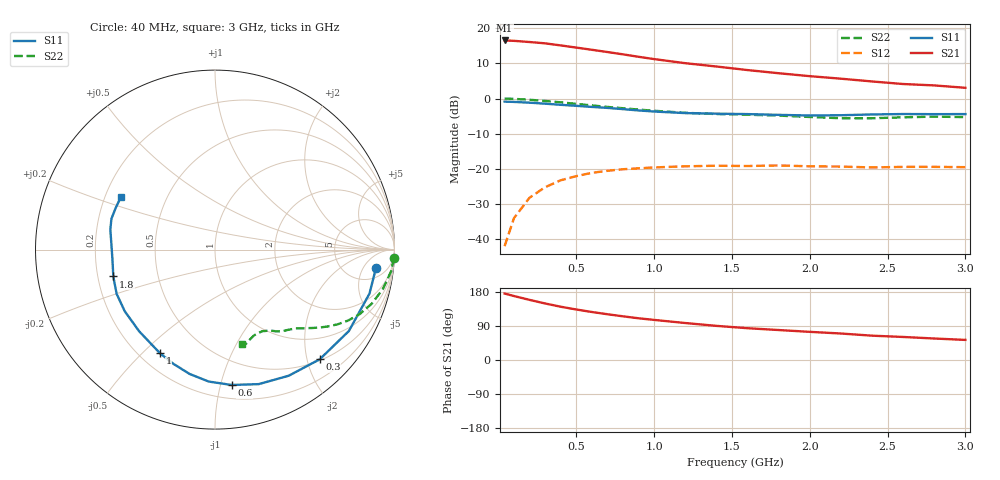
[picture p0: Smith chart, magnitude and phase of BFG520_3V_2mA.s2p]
! Filename:  BFG520A.S2P  Version:  2.1
! Philips part #: BFG520  Date: Feb 1992
! Bias condition: Vce=3V, Ic=2mA
! IN LINE PINNING: same data as with cross emitter pinning.
#  MHz  S  MA  R  50
! Freq  S11  S21  S12  S22  !GUM [dB]
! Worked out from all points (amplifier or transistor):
!   21 points, 40 MHz to 3 GHz, reference 50 ohm
!   highest |S21| = 16.5 dB at 40 MHz (marker M1)
!   |S21| within 3 dB of that: start of sweep to 655.1 MHz
!   unconditionally stable (mu >= 1): 2.252 GHz to end of sweep
!   at 300 MHz: K = 0.09, MSG = 20.4 dB, |S12| = -25.2 dB
!   at 1 GHz: K = 0.38, MSG = 15.4 dB, |S12| = -19.6 dB
!   at 3 GHz: K = 1.25, MAG = 8.3 dB, |S12| = -19.5 dB
!   S11 on the Smith chart (normalised r, x): 40 MHz: 9, -10; 300 MHz: 0.52, -2.24; 600 MHz: 0.30, -1.08; 1 GHz: 0.28, -0.57; 1.8 GHz: 0.27, -0.12; 3 GHz: 0.27, +0.25
40  0.903 -6.4  6.678 175.4  0.008 85.5  0.997 -2.7
100  0.895 -15.9  6.594 168.8  0.02 81.6  0.989 -7.0
200  0.873 -31.3  6.344 158.7  0.039 72.5  0.96 -13.4
300  0.845 -46.3  6.077 149.2  0.055 65.5  0.924 -19.0
400  0.814 -59.7  5.679 140.6  0.069 59.1  0.883 -24.0
500  0.788 -72.0  5.29 133.3  0.079 53.5  0.84 -28.1
600  0.76 -83.0  4.922 126.7  0.088 48.5  0.798 -31.5
700  0.736 -92.7  4.575 120.8  0.094 44.5  0.76 -34.3
800  0.707 -101.6  4.242 115.3  0.099 41.4  0.728 -36.6
900  0.677 -110.1  3.916 110.1  0.102 38.5  0.697 -38.8
1000  0.654 -117.9  3.633 105.8  0.105 36.3  0.67 -40.8
1200  0.621 -132.9  3.176 97.6  0.109 32.8  0.627 -44.5
1400  0.609 -145.6  2.85 90.1  0.111 29.6  0.602 -48.1
1600  0.601 -155.8  2.536 83.9  0.11 29.1  0.589 -50.7
1800  0.586 -165.2  2.287 79.1  0.112 28.5  0.572 -52.9
2000  0.574 -174.6  2.078 74.3  0.109 28.4  0.547 -55.5
2200  0.579 176.3  1.913 69.9  0.108 28.2  0.525 -60.0
2400  0.594 169.1  1.748 64.2  0.105 29.7  0.525 -65.5
2600  0.602 163.4  1.607 60.8  0.107 31.9  0.541 -69.7
2800  0.6 157.6  1.535 56.7  0.107 32.9  0.553 -71.8
3000  0.601 150.6  1.42 53.0  0.106 36.2  0.545 -73.9
